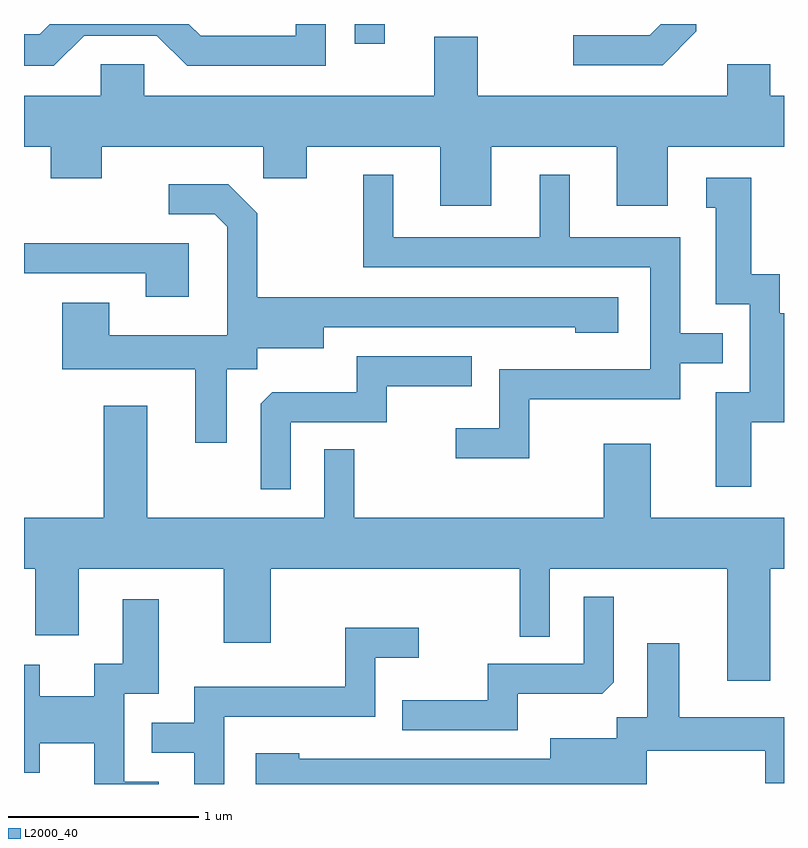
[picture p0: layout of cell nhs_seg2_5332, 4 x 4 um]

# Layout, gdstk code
import gdstk
lib = gdstk.Library(unit=1e-6, precision=1e-09)
def R(c, l, rs):  # rectangles x0, y0, x1, y1
    for r in rs: c.add(gdstk.rectangle(r[:2], r[2:], *l))
def P(c, l, *ps):  # polygons
    for p in ps: c.add(gdstk.Polygon(p, *l))
L2000_40 = (2000, 40)

nhs_seg2_5332 = lib.new_cell('nhs_seg2_5332')
R(nhs_seg2_5332, L2000_40, [(343.351,1097.698,343.509,1097.802)])
P(nhs_seg2_5332, L2000_40, [(345.149,1097.764),(345.149,1097.802),(344.961,1097.802),(344.904,1097.744),(344.503,1097.744),(344.503,1097.586),(344.972,1097.586)],
  [(341.927,1097.741),(342.309,1097.741),(342.469,1097.581),(343.199,1097.581),(343.199,1097.802),(343.041,1097.802),(343.041,1097.739),(342.542,1097.739),(342.479,1097.802),(341.747,1097.802),(341.694,1097.749),(341.611,1097.749),(341.611,1097.581),(341.767,1097.581)],
  [(344.069,1097.156),(344.731,1097.156),(344.731,1096.846),(344.999,1096.846),(344.999,1097.156),(345.611,1097.156),(345.611,1097.424),(345.539,1097.424),(345.539,1097.589),(345.311,1097.589),(345.311,1097.424),(343.999,1097.424),(343.999,1097.734),(343.771,1097.734),(343.771,1097.424),(342.244,1097.424),(342.244,1097.589),(342.016,1097.589),(342.016,1097.424),(341.611,1097.424),(341.611,1097.156),(341.751,1097.156),(341.751,1096.991),(342.019,1096.991),(342.019,1097.156),(342.871,1097.156),(342.871,1096.991),(343.099,1096.991),(343.099,1097.156),(343.801,1097.156),(343.801,1096.846),(344.069,1096.846)],
  [(344.269,1095.826),(345.064,1095.826),(345.064,1096.016),(345.288,1096.016),(345.288,1096.174),(345.064,1096.174),(345.064,1096.679),(344.484,1096.679),(344.484,1097.008),(344.326,1097.008),(344.326,1096.679),(343.554,1096.679),(343.554,1097.008),(343.396,1097.008),(343.396,1096.521),(344.906,1096.521),(344.906,1095.984),(344.111,1095.984),(344.111,1095.674),(343.883,1095.674),(343.883,1095.516),(344.269,1095.516)],
  [(345.439,1095.706),(345.611,1095.706),(345.611,1096.279),(345.589,1096.279),(345.589,1096.484),(345.439,1096.484),(345.439,1096.994),(345.203,1096.994),(345.203,1096.836),(345.251,1096.836),(345.251,1096.326),(345.431,1096.326),(345.431,1095.864),(345.251,1095.864),(345.251,1095.366),(345.439,1095.366)],
  [(342.679,1095.986),(342.839,1095.986),(342.839,1096.096),(343.189,1096.096),(343.189,1096.206),(344.511,1096.206),(344.511,1096.176),(344.739,1096.176),(344.739,1096.364),(342.839,1096.364),(342.839,1096.807),(342.687,1096.959),(342.373,1096.959),(342.373,1096.801),(342.614,1096.801),(342.681,1096.734),(342.681,1096.164),(342.059,1096.164),(342.059,1096.334),(341.811,1096.334),(341.811,1095.986),(342.511,1095.986),(342.511,1095.598),(342.679,1095.598)],
  [(342.479,1096.649),(341.611,1096.649),(341.611,1096.491),(342.251,1096.491),(342.251,1096.366),(342.479,1096.366)],
  [(343.014,1095.706),(343.519,1095.706),(343.519,1095.896),(343.968,1095.896),(343.968,1096.054),(343.361,1096.054),(343.361,1095.864),(342.917,1095.864),(342.856,1095.804),(342.856,1095.353),(343.014,1095.353)],
  [(345.539,1094.936),(345.611,1094.936),(345.611,1095.204),(344.909,1095.204),(344.909,1095.594),(344.661,1095.594),(344.661,1095.204),(343.349,1095.204),(343.349,1095.563),(343.191,1095.563),(343.191,1095.204),(342.259,1095.204),(342.259,1095.794),(342.031,1095.794),(342.031,1095.204),(341.611,1095.204),(341.611,1094.936),(341.671,1094.936),(341.671,1094.586),(341.899,1094.586),(341.899,1094.936),(342.661,1094.936),(342.661,1094.546),(342.909,1094.546),(342.909,1094.936),(344.221,1094.936),(344.221,1094.578),(344.379,1094.578),(344.379,1094.936),(345.311,1094.936),(345.311,1094.346),(345.539,1094.346)],
  [(344.209,1094.276),(344.654,1094.276),(344.714,1094.337),(344.714,1094.788),(344.556,1094.788),(344.556,1094.434),(344.051,1094.434),(344.051,1094.244),(343.603,1094.244),(343.603,1094.086),(344.209,1094.086)],
  [(342.319,1093.814),(342.139,1093.814),(342.139,1094.276),(342.319,1094.276),(342.319,1094.774),(342.131,1094.774),(342.131,1094.434),(341.981,1094.434),(341.981,1094.264),(341.694,1094.264),(341.694,1094.429),(341.611,1094.429),(341.611,1093.861),(341.694,1093.861),(341.694,1094.016),(341.981,1094.016),(341.981,1093.802),(342.319,1093.802)],
  [(342.664,1094.156),(343.459,1094.156),(343.459,1094.466),(343.688,1094.466),(343.688,1094.624),(343.301,1094.624),(343.301,1094.314),(342.506,1094.314),(342.506,1094.124),(342.283,1094.124),(342.283,1093.966),(342.506,1093.966),(342.506,1093.802),(342.664,1093.802)],
  [(344.889,1093.976),(345.511,1093.976),(345.511,1093.806),(345.611,1093.806),(345.611,1094.154),(345.059,1094.154),(345.059,1094.543),(344.891,1094.543),(344.891,1094.154),(344.731,1094.154),(344.731,1094.044),(344.381,1094.044),(344.381,1093.934),(343.059,1093.934),(343.059,1093.964),(342.831,1093.964),(342.831,1093.802),(344.889,1093.802)])

lib.write_gds('nhs_seg2_5332.gds')
